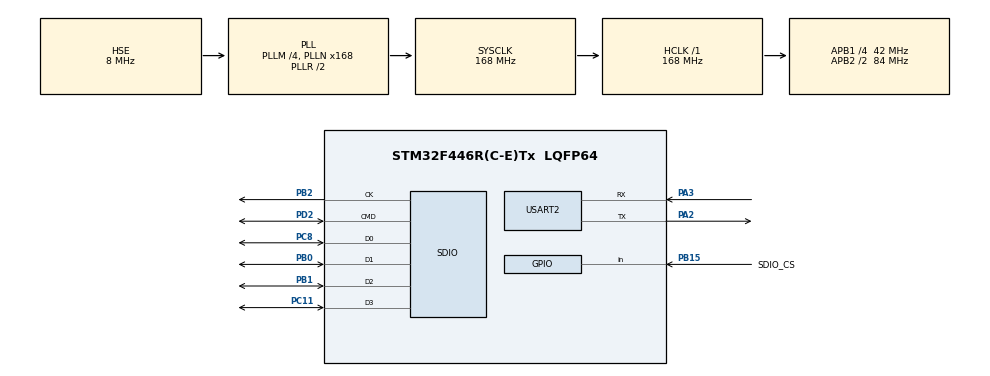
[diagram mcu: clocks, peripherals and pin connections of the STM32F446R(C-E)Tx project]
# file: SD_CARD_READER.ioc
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FATFS.BSP.number=1
FATFS._MAX_SS=4096
FATFS0.BSP.STBoard=false
FATFS0.BSP.api=Unknown
FATFS0.BSP.instance=PB15
FATFS0.BSP.ip=GPIO
FATFS0.BSP.mode=Input
FATFS0.BSP.name=Detect_SDIO
FATFS0.BSP.solution=PB15
Mcu.Family=STM32F4
Mcu.Name=STM32F446R(C-E)Tx
Mcu.Package=LQFP64
NVIC.PriorityGroup=NVIC_PRIORITYGROUP_4
NVIC.USART2_IRQn=true\:0\:0\:false\:false\:true\:true\:true\:true
PA2.Mode=Asynchronous
PA2.Signal=USART2_TX
PA3.Mode=Asynchronous
PA3.Signal=USART2_RX
PB0.Mode=SD_4_bits_Wide_bus
PB0.Signal=SDIO_D1
PB1.Mode=SD_4_bits_Wide_bus
PB1.Signal=SDIO_D2
PB15.GPIO_Label=SDIO_CS
PB15.Signal=GPIO_Input
PB2.Mode=SD_4_bits_Wide_bus
PB2.Signal=SDIO_CK
PC11.Mode=SD_4_bits_Wide_bus
PC11.Signal=SDIO_D3
PC8.Mode=SD_4_bits_Wide_bus
PC8.Signal=SDIO_D0
PD2.Mode=SD_4_bits_Wide_bus
PD2.Signal=SDIO_CMD
PH0-OSC_IN.Mode=HSE-External-Oscillator
PH0-OSC_IN.Signal=RCC_OSC_IN
PH1-OSC_OUT.Mode=HSE-External-Oscillator
PH1-OSC_OUT.Signal=RCC_OSC_OUT
ProjectManager.HeapSize=0x200
ProjectManager.StackSize=0x400
ProjectManager.TargetToolchain=STM32CubeIDE
RCC.AHBFreq_Value=168000000
RCC.APB1CLKDivider=RCC_HCLK_DIV4
RCC.APB1Freq_Value=42000000
RCC.APB1TimFreq_Value=84000000
RCC.APB2CLKDivider=RCC_HCLK_DIV2
RCC.APB2Freq_Value=84000000
RCC.APB2TimFreq_Value=168000000
RCC.CortexFreq_Value=168000000
RCC.HCLKFreq_Value=168000000
RCC.HSE_VALUE=8000000
RCC.PLLM=4
RCC.PLLN=168
RCC.PLLQ=7
RCC.PLLSourceVirtual=RCC_PLLSOURCE_HSE
RCC.SYSCLKFreq_VALUE=168000000
RCC.SYSCLKSource=RCC_SYSCLKSOURCE_PLLRCLK
RCC.USBFreq_Value=48000000
RCC.VCOOutputFreq_Value=336000000
SDIO.ClockDiv=0
USART2.VirtualMode=VM_ASYNC
VP_FATFS_VS_SDIO.Mode=SDIO
board=custom

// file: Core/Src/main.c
/* USER CODE BEGIN Header */
/**
 ******************************************************************************
 * @file           : main.c
 * @brief          : Main program body
 ******************************************************************************
 * @attention
 *
 * Copyright (c) 2024 STMicroelectronics.
 * All rights reserved.
 *
 * This software is licensed under terms that can be found in the LICENSE file
 * in the root directory of this software component.
 * If no LICENSE file comes with this software, it is provided AS-IS.
 *
 ******************************************************************************
 */
/* USER CODE END Header */
#include "main.h"
#include "fatfs.h"
#include "sdio.h"
#include "usart.h"
#include "gpio.h"

/* USER CODE BEGIN Includes */
#include "FileHandle.h"
#include "UartBuffer.h"

/* USER CODE END Includes */

void SystemClock_Config(void);

/* USER CODE BEGIN 0 */
char cmd = 0;

/* USER CODE END 0 */

int main(void)
{

	/* MCU Configuration--------------------------------------------------------*/

	/* Reset of all peripherals, Initializes the Flash interface and the Systick. */
	HAL_Init();

	/* Configure the system clock */
	SystemClock_Config();

	/* Initialize all configured peripherals */
	MX_GPIO_Init();
	MX_SDIO_SD_Init();
	MX_FATFS_Init();
	MX_USART2_UART_Init();
	/* USER CODE BEGIN 2 */
	Ringbuf_init();    //init the ring buffer
	mount_sd();

	HAL_StatusTypeDef status = HAL_SD_Init(&hsd);
	if (status == HAL_OK) {
	    Usart_sendstring("SDIO Initialized Successfully\n");
	} else {
	    sprintf(buffer, "SDIO Initialization Failed: %d\n", status);
	    Usart_sendstring(buffer);
	}

	/* USER CODE END 2 */

	/* Infinite loop */
	while (1)
	{

		/* USER CODE BEGIN 3 */
		while(IsDataAvailable())
		{
			Get_string(buffer);
			int len = cmdlength(buffer);
			get_path();

			if(!(strncmp("ls", buffer, len))) cmd = 'l';
			if(!(strncmp("mkdir", buffer, len))) cmd = 'm';
			if(!(strncmp("mkfil", buffer, len))) cmd = 'c';
			if(!(strncmp("read", buffer, len))) cmd = 'r';
			if(!(strncmp("write", buffer, len))) cmd = 'w';
			if(!(strncmp("rm", buffer, len))) cmd = 'd';
			if(!(strncmp("update", buffer, len))) cmd = 'u';
			if(!(strncmp("checkfile", buffer, len))) cmd = 'f';
			if(!(strncmp("checksd", buffer, len))) cmd = 's';

			switch (cmd) {
			case ('l'):
				scan_files(path);
				cmd = 0;
				clear_buffer();
				clear_path();
				break;
			case ('m'):
				create_dir(path);
				cmd = 0;
				clear_path();
				break;
			case ('c'):
				create_file(path);
				cmd = 0;
				clear_path();
				break;
			case ('r'):
				create_file(path);
				cmd = 0;
				clear_path();
				break;
			case ('d'):
				remove_file(path);
				cmd = 0;
				clear_path();
				break;
			case ('w'):
				write_file(path);
				cmd = 0;
				clear_path();
				break;
			case ('u'):
				update_file(path);
				cmd = 0;
				clear_path();
				break;
			case ('f'):
				check_file(path);
				cmd = 0;
				clear_path();
				break;
			case ('s'):
				check_sd();
				cmd = 0;
				clear_path();
				break;

			default:
				clear_buffer();
				clear_path();
				break;
			}

		}
	}
	/* USER CODE END 3 */
}

void SystemClock_Config(void)
{
	RCC_OscInitTypeDef RCC_OscInitStruct = {0};
	RCC_ClkInitTypeDef RCC_ClkInitStruct = {0};

	/** Configure the main internal regulator output voltage
	 */
	__HAL_RCC_PWR_CLK_ENABLE();
	__HAL_PWR_VOLTAGESCALING_CONFIG(PWR_REGULATOR_VOLTAGE_SCALE1);

	/** Initializes the RCC Oscillators according to the specified parameters
	 * in the RCC_OscInitTypeDef structure.
	 */
	RCC_OscInitStruct.OscillatorType = RCC_OSCILLATORTYPE_HSE;
	RCC_OscInitStruct.HSEState = RCC_HSE_ON;
	RCC_OscInitStruct.PLL.PLLState = RCC_PLL_ON;
	RCC_OscInitStruct.PLL.PLLSource = RCC_PLLSOURCE_HSE;
	RCC_OscInitStruct.PLL.PLLM = 4;
	RCC_OscInitStruct.PLL.PLLN = 168;
	RCC_OscInitStruct.PLL.PLLP = RCC_PLLP_DIV2;
	RCC_OscInitStruct.PLL.PLLQ = 7;
	RCC_OscInitStruct.PLL.PLLR = 2;
	if (HAL_RCC_OscConfig(&RCC_OscInitStruct) != HAL_OK)
	{
		Error_Handler();
	}

	/** Initializes the CPU, AHB and APB buses clocks
	 */
	RCC_ClkInitStruct.ClockType = RCC_CLOCKTYPE_HCLK|RCC_CLOCKTYPE_SYSCLK
			|RCC_CLOCKTYPE_PCLK1|RCC_CLOCKTYPE_PCLK2;
	RCC_ClkInitStruct.SYSCLKSource = RCC_SYSCLKSOURCE_PLLRCLK;
	RCC_ClkInitStruct.AHBCLKDivider = RCC_SYSCLK_DIV1;
	RCC_ClkInitStruct.APB1CLKDivider = RCC_HCLK_DIV4;
	RCC_ClkInitStruct.APB2CLKDivider = RCC_HCLK_DIV2;

	if (HAL_RCC_ClockConfig(&RCC_ClkInitStruct, FLASH_LATENCY_5) != HAL_OK)
	{
		Error_Handler();
	}
}

void Error_Handler(void)
{
	__disable_irq();
	while (1)
	{
	}
}
